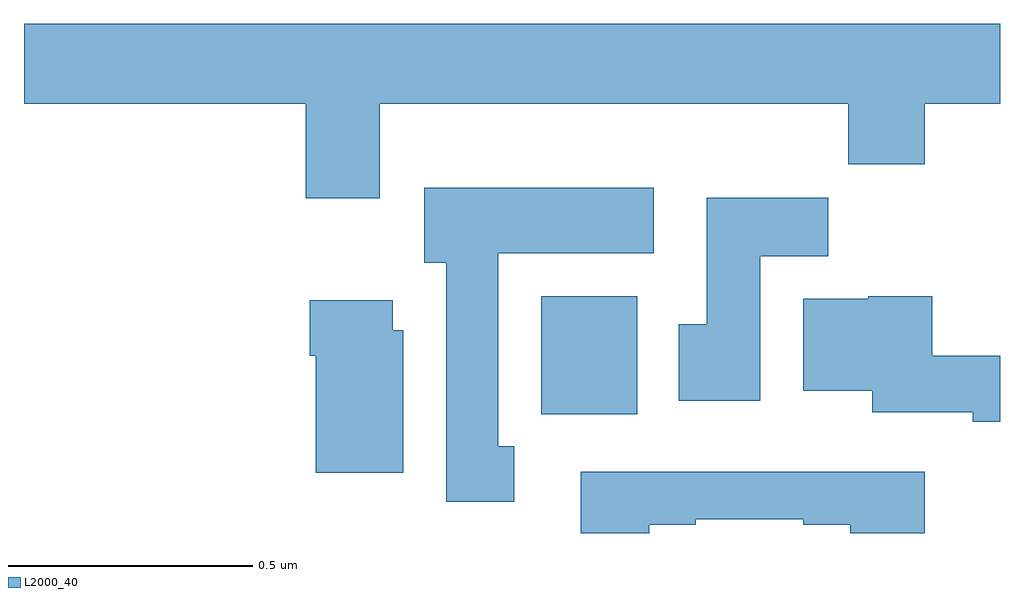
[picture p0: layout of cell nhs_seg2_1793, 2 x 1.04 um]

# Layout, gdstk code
import gdstk
lib = gdstk.Library(unit=1e-6, precision=1e-09)
def R(c, l, rs):  # rectangles x0, y0, x1, y1
    for r in rs: c.add(gdstk.rectangle(r[:2], r[2:], *l))
def P(c, l, *ps):  # polygons
    for p in ps: c.add(gdstk.Polygon(p, *l))
L2000_40 = (2000, 40)

nhs_seg2_1793 = lib.new_cell('nhs_seg2_1793')
R(nhs_seg2_1793, L2000_40, [(134.06,603.044,134.257,603.286)])
P(nhs_seg2_1793, L2000_40, [(133.729,603.68),(134.689,603.68),(134.689,603.556),(134.846,603.556),(134.846,603.68),(135,603.68),(135,603.844),(133,603.844),(133,603.68),(133.577,603.68),(133.577,603.486),(133.729,603.486)],
  [(134.005,602.978),(133.972,602.978),(133.972,603.374),(134.29,603.374),(134.29,603.508),(133.82,603.508),(133.82,603.354),(133.865,603.354),(133.865,602.865),(134.005,602.865)],
  [(134.509,603.368),(134.648,603.368),(134.648,603.487),(134.399,603.487),(134.399,603.228),(134.342,603.228),(134.342,603.072),(134.509,603.072)],
  [(135,603.164),(134.861,603.164),(134.861,603.286),(134.73,603.286),(134.73,603.28),(134.597,603.28),(134.597,603.092),(134.738,603.092),(134.738,603.048),(134.944,603.048),(134.944,603.028),(135,603.028)],
  [(133.777,603.216),(133.756,603.216),(133.756,603.277),(133.586,603.277),(133.586,603.164),(133.598,603.164),(133.598,602.924),(133.777,602.924)],
  [(134.281,602.817),(134.377,602.817),(134.377,602.829),(134.597,602.829),(134.597,602.817),(134.693,602.817),(134.693,602.8),(134.846,602.8),(134.846,602.926),(134.141,602.926),(134.141,602.8),(134.281,602.8)])

lib.write_gds('nhs_seg2_1793.gds')
